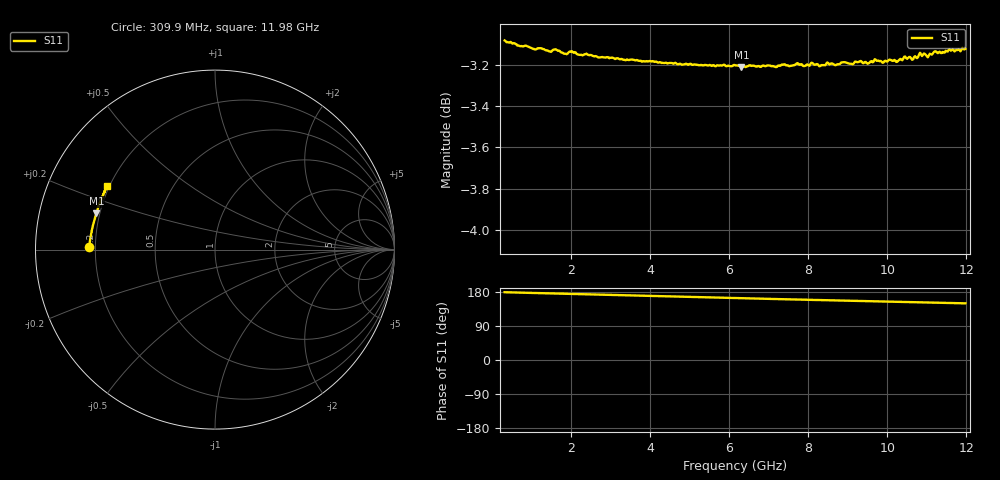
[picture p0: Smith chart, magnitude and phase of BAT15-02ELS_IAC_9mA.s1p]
! Infineon Technologies  Discrete & RF Semiconductors
! BAT15-02ELS
! IAC = 9 mA
! One-Port S-Parameters
# Hz  S  MA  R  50
!f  S11
!Hz  Mag  Ang
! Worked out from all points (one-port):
!   468 points, 309.9 MHz to 11.98 GHz, reference 50 ohm
!   lowest |S11| = -3.2 dB at 6.307 GHz (marker M1), VSWR 5.47, Z = 9.34 + j7.22 ohm
!   |S11| at or under -10 dB: nowhere
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3.0985e8  0.7015 178.9
1.584212e9  0.6979 175.4
1.784112e9  0.6966 174.7
2.033988e9  0.697 174.1
3.233388e9  0.6941 170.8
4.70765e9  0.6921 167.0
6.156925e9  0.6917 163.4
6.30685e9  0.691 163.0
7.6062e9  0.6917 159.8
7.831088e9  0.6922 159.3
8.030988e9  0.6916 158.8
8.2059e9  0.6922 158.4
8.4058e9  0.6918 157.9
8.6057e9  0.6925 157.5
8.780612e9  0.6922 157.0
8.930538e9  0.6929 156.7
9.080462e9  0.6924 156.3
9.730138e9  0.6935 154.8
9.980012e9  0.6933 154.1
1.017991e10  0.6939 153.7
1.037981e10  0.6937 153.1
1.052974e10  0.6947 152.8
1.075462e10  0.6946 152.2
1.097951e10  0.6958 151.9
1.112944e10  0.6959 151.4
1.127936e10  0.6965 151.2
1.187906e10  0.6978 149.7
1.197901e10  0.6982 149.5
